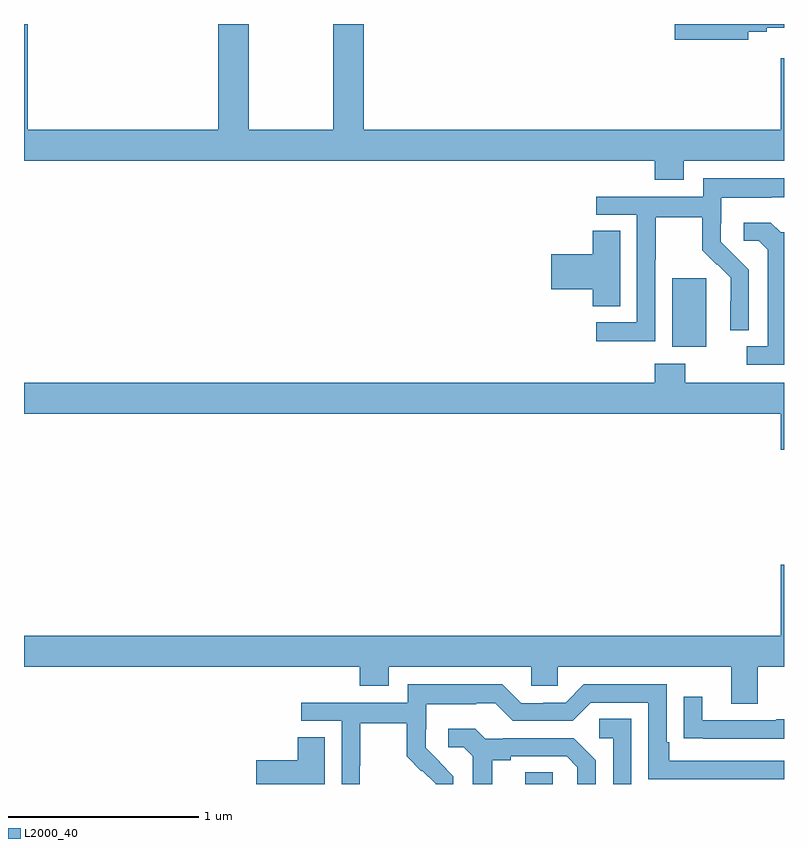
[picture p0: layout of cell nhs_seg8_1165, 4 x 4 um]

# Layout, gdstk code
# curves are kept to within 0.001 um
import gdstk
lib = gdstk.Library(unit=1e-6, precision=1e-09)
def R(c, l, rs):  # rectangles x0, y0, x1, y1
    for r in rs: c.add(gdstk.rectangle(r[:2], r[2:], *l))
def P(c, l, *ps):  # polygons
    for p in ps: c.add(gdstk.Polygon(p, *l))
L2000_40 = (2000, 40)

nhs_seg8_1165 = lib.new_cell('nhs_seg8_1165')
R(nhs_seg8_1165, L2000_40, [(187.637,1099.9,187.782,1099.961), (188.411,1102.202,188.59,1102.563)])
P(nhs_seg8_1165, L2000_40, [(188.321,1103.081),(188.473,1103.081),(188.473,1103.18),(189,1103.18),(189,1103.719),(188.984,1103.719),(188.984,1103.344),(186.788,1103.344),(186.788,1103.9),(186.628,1103.9),(186.628,1103.344),(186.183,1103.344),(186.183,1103.9),(186.023,1103.9),(186.023,1103.344),(185.021,1103.344),(185.021,1103.9),(185,1103.9),(185,1103.18),(188.321,1103.18)],
  [(188.812,1103.86),(188.908,1103.86),(188.908,1103.879),(189,1103.879),(189,1103.9),(188.424,1103.9),(188.424,1103.818),(188.812,1103.818)],
  [(188.322,1102.66),(188.325,1102.66),(188.325,1102.884),(188.569,1102.884),(188.569,1102.709),(188.646,1102.632),(188.649,1102.635),(188.72,1102.565),(188.72,1102.442),(188.718,1102.442),(188.718,1102.288),(188.814,1102.288),(188.814,1102.606),(188.668,1102.754),(188.668,1102.851),(188.67,1102.851),(188.67,1102.985),(188.933,1102.985),(188.933,1102.989),(189,1102.989),(189,1103.089),(188.574,1103.089),(188.574,1102.992),(188.013,1102.992),(188.013,1102.896),(188.226,1102.896),(188.226,1102.329),(188.013,1102.329),(188.013,1102.231),(188.322,1102.231)],
  [(189,1102.803),(188.982,1102.803),(188.93,1102.855),(188.787,1102.855),(188.787,1102.758),(188.868,1102.758),(188.915,1102.711),(188.915,1102.203),(188.805,1102.203),(188.805,1102.107),(189,1102.107)],
  [(188.137,1102.811),(187.994,1102.811),(187.994,1102.688),(187.776,1102.688),(187.776,1102.505),(187.994,1102.505),(187.994,1102.414),(188.137,1102.414)],
  [(189,1102.012),(188.481,1102.012),(188.481,1102.111),(188.321,1102.111),(188.321,1102.012),(185,1102.012),(185,1101.848),(188.984,1101.848),(188.984,1101.66),(189,1101.66)],
  [(185,1100.516),(186.767,1100.516),(186.767,1100.417),(186.919,1100.417),(186.919,1100.516),(187.671,1100.516),(187.671,1100.418),(187.809,1100.418),(187.809,1100.516),(188.723,1100.516),(188.723,1100.322),(188.863,1100.322),(188.863,1100.516),(189,1100.516),(189,1101.055),(188.984,1101.055),(188.984,1100.68),(185,1100.68)],
  [(186.768,1099.996),(186.771,1099.996),(186.771,1100.22),(187.015,1100.22),(187.015,1100.045),(187.092,1099.968),(187.095,1099.971),(187.166,1099.9),(187.26,1099.9),(187.26,1099.942),(187.114,1100.09),(187.114,1100.187),(187.116,1100.187),(187.116,1100.321),(187.379,1100.321),(187.379,1100.325),(187.479,1100.325),(187.572,1100.232),(187.887,1100.232),(187.983,1100.328),(188.286,1100.328),(188.286,1099.926),(189,1099.926),(189,1100.022),(188.395,1100.022),(188.395,1100.119),(188.382,1100.119),(188.382,1100.424),(187.947,1100.424),(187.851,1100.328),(187.733,1100.328),(187.733,1100.325),(187.617,1100.325),(187.517,1100.425),(187.02,1100.425),(187.02,1100.328),(186.459,1100.328),(186.459,1100.232),(186.672,1100.232),(186.672,1099.9),(186.768,1099.9)],
  [(189,1100.24),(188.959,1100.24),(188.959,1100.235),(188.569,1100.235),(188.569,1100.359),(188.473,1100.359),(188.473,1100.14),(188.575,1100.14),(188.575,1100.139),(189,1100.139)],
  [(188.196,1100.243),(188.028,1100.243),(188.028,1100.142),(188.1,1100.142),(188.1,1099.9),(188.196,1099.9)],
  [(187.465,1100.024),(187.561,1100.024),(187.561,1100.046),(187.856,1100.046),(187.913,1099.989),(187.913,1099.9),(188.01,1099.9),(188.01,1100.026),(187.894,1100.142),(187.522,1100.142),(187.522,1100.139),(187.428,1100.139),(187.376,1100.191),(187.233,1100.191),(187.233,1100.094),(187.314,1100.094),(187.361,1100.047),(187.361,1099.9),(187.465,1099.9)],
  [(186.583,1100.147),(186.44,1100.147),(186.44,1100.024),(186.222,1100.024),(186.222,1099.9),(186.583,1099.9)])

lib.write_gds('nhs_seg8_1165.gds')
